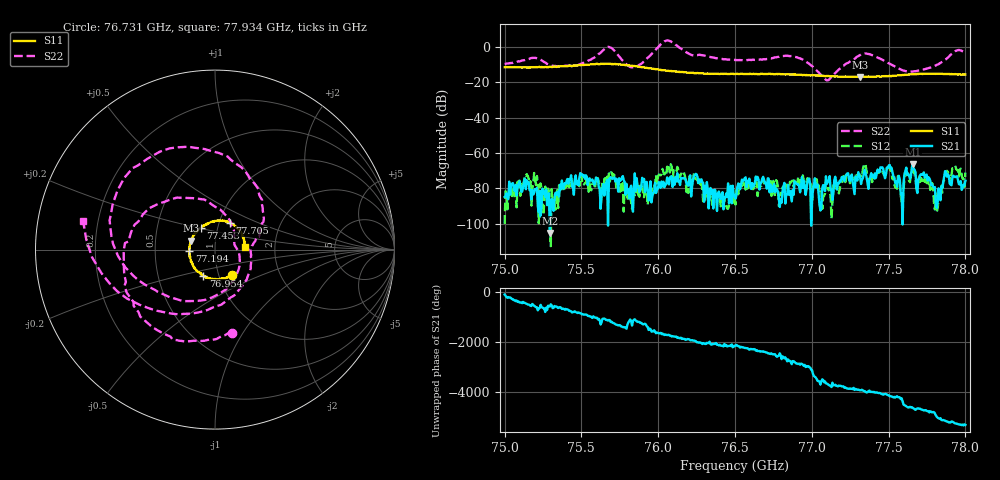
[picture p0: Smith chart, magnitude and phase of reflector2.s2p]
# Hz S MA R 50
! CMT, C4420, 21421029, 25.1.2/3
! Date: 8/4/2025 5:30:59 PM
! Data: Format (Calibration Info)
! Freq	S33:Mag/Ang(F2)	S43:Mag/Ang(F2)	S34:Mag/Ang(F2)	S44:Mag/Ang(F2)
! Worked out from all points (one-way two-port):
!   500 points, 75 GHz to 78 GHz, reference 50 ohm
!   highest |S21| = -66.24 dB at 77.657 GHz (marker M1); lowest = -105.2 dB at 75.295 GHz (marker M2)
!   lowest |S11| = -17.1 dB at 77.315 GHz (marker M3), VSWR 1.33, Z = 38.2 + j3.82 ohm
!   |S11| at or under -10 dB: start of sweep to 75.557 GHz; 75.73774 GHz to 75.74586 GHz (8.117 MHz wide, 0.0107 % of centre); 75.755 GHz to end of sweep
!   |S22| runs from -19.0 to 3.6 dB; largest |S21 - S12| = 0.00031
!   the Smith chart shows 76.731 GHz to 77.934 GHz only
!   S11 on the Smith chart (normalised r, x): 76.731 GHz: 1.15, -0.34; 76.954 GHz: 0.84, -0.25; 77.194 GHz: 0.75, -0.01; 77.453 GHz: 0.83, +0.21; 77.705 GHz: 1.13, +0.35; 77.934 GHz: 1.41, +0.05
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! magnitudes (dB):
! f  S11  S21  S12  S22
! 75 GHz  -11.6  -84.9  -100.0  -9.7
! 75.144 GHz  -11.7  -75.4  -72.0  -7.1
! 75.295 GHz  -11.2  -105.2  -92.8  -10.3
! 75.505 GHz  -10.3  -72.1  -76.1  -9.2
! 75.679 GHz  -9.7  -74.7  -71.6  -0.1
! 75.848 GHz  -11.0  -71.5  -83.9  -11.7
! 76.004 GHz  -13.0  -76.5  -72.2  0.2
! 76.503 GHz  -15.4  -85.8  -89.1  -7.5
! 76.731 GHz  -15.4  -77.9  -75.0  -6.5
! 76.954 GHz  -16.0  -79.9  -78.8  -7.9
! 77.002 GHz  -16.2  -86.8  -86.7  -10.9
! 77.098 GHz  -16.5  -77.5  -78.4  -19.0
! 77.194 GHz  -16.9  -73.7  -76.4  -11.5
! 77.315 GHz  -17.1  -73.7  -72.2  -4.7
! 77.453 GHz  -16.8  -68.2  -68.8  -7.1
! 77.501 GHz  -16.6  -67.1  -68.2  -9.3
! 77.585 GHz  -16.1  -83.0  -87.5  -13.1
! 77.657 GHz  -15.5  -66.2  -70.0  -14.0
! 77.705 GHz  -15.3  -72.5  -76.3  -13.3
! 77.838 GHz  -15.2  -86.7  -82.2  -9.1
! 77.934 GHz  -15.4  -73.7  -67.1  -2.5
! 78 GHz  -15.7  -75.7  -71.0  -3.7
